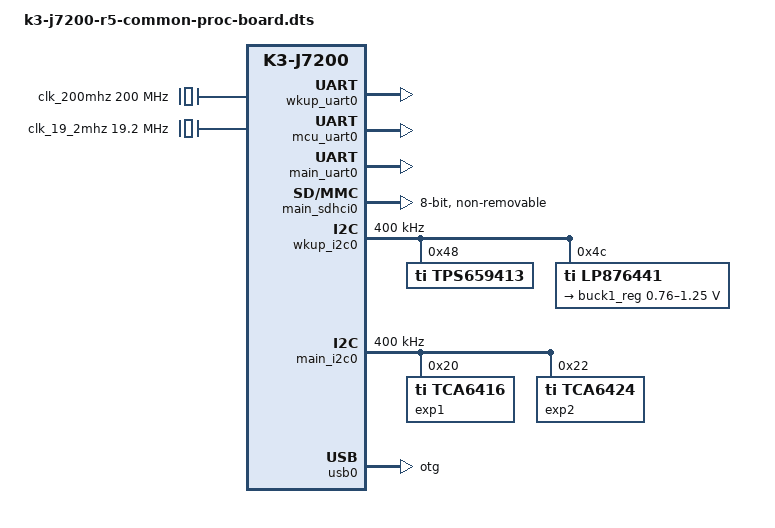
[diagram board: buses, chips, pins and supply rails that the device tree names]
// SPDX-License-Identifier: GPL-2.0
/*
 * Copyright (C) 2020 Texas Instruments Incorporated - https://www.ti.com/
 */

/dts-v1/;

#include "k3-j7200-som-p0.dtsi"
#include "k3-j7200-ddr-evm-lp4-2666.dtsi"
#include "k3-j721e-ddr.dtsi"

/ {
	aliases {
		remoteproc0 = &sysctrler;
		remoteproc1 = &a72_0;
	};

	chosen {
		stdout-path = &main_uart0;
		tick-timer = &timer1;
		firmware-loader = &fs_loader0;
	};

	fs_loader0: fs_loader@0 {
		bootph-all;
		compatible = "u-boot,fs-loader";
	};

	a72_0: a72@0 {
		compatible = "ti,am654-rproc";
		reg = <0x0 0x00a90000 0x0 0x10>;
		power-domains = <&k3_pds 61 TI_SCI_PD_EXCLUSIVE>,
				<&k3_pds 202 TI_SCI_PD_EXCLUSIVE>,
				<&k3_pds 4 TI_SCI_PD_EXCLUSIVE>;
		resets = <&k3_reset 202 0>;
		clocks = <&k3_clks 61 1>, <&k3_clks 4 1>, <&k3_clks 202 2>;
		clock-names = "gtc_clk", "msmc_clk", "arm_clk";
		assigned-clocks = <&k3_clks 202 2>, <&k3_clks 61 1>, <&k3_clks 4 1>, <&k3_clks 323 0>;
		assigned-clock-parents= <0>, <0>, <0>, <&k3_clks 323 2>;
		assigned-clock-rates = <2000000000>, <200000000>, <1000000000>;
		ti,sci = <&dmsc>;
		ti,sci-proc-id = <32>;
		ti,sci-host-id = <10>;
		bootph-pre-ram;
	};

	clk_200mhz: dummy_clock_200mhz {
		compatible = "fixed-clock";
		#clock-cells = <0>;
		clock-frequency = <200000000>;
		bootph-pre-ram;
	};

	clk_19_2mhz: dummy_clock_19_2mhz {
		compatible = "fixed-clock";
		#clock-cells = <0>;
		clock-frequency = <19200000>;
		bootph-pre-ram;
	};
};

&memorycontroller {
	power-domains = <&k3_pds 8 TI_SCI_PD_SHARED>,
			<&k3_pds 90 TI_SCI_PD_SHARED>;
	clocks = <&k3_clks 8 5>, <&k3_clks 30 9>;
};

&cbass_mcu_wakeup {
	mcu_secproxy: secproxy@2a380000 {
		bootph-pre-ram;
		compatible = "ti,am654-secure-proxy";
		reg = <0x0 0x2a380000 0x0 0x80000>,
		      <0x0 0x2a400000 0x0 0x80000>,
		      <0x0 0x2a480000 0x0 0x80000>;
		reg-names = "rt", "scfg", "target_data";
		#mbox-cells = <1>;
	};

	sysctrler: sysctrler {
		bootph-pre-ram;
		compatible = "ti,am654-system-controller";
		mboxes= <&mcu_secproxy 4>, <&mcu_secproxy 5>;
		mbox-names = "tx", "rx";
	};

	dm_tifs: dm-tifs {
		compatible = "ti,j721e-dm-sci";
		ti,host-id = <3>;
		ti,secure-host;
		mbox-names = "rx", "tx";
		mboxes= <&mcu_secproxy 21>,
			<&mcu_secproxy 23>;
		bootph-pre-ram;
	};

	wkup_vtm0: vtm@42040000 {
		compatible = "ti,am654-vtm", "ti,j721e-avs";
		reg = <0x0 0x42040000 0x0 0x330>,
		      <0x00 0x42050000 0x00 0x350>;
		power-domains = <&k3_pds 154 TI_SCI_PD_EXCLUSIVE>;
		#thermal-sensor-cells = <1>;
	};
};

&dmsc {
	mboxes= <&mcu_secproxy 8>, <&mcu_secproxy 6>, <&mcu_secproxy 5>;
	mbox-names = "tx", "rx", "notify";
	ti,host-id = <4>;
	ti,secure-host;
};

&wkup_pmx0 {
	bootph-pre-ram;
	wkup_uart0_pins_default: wkup_uart0_pins_default {
		bootph-pre-ram;
		pinctrl-single,pins = <
			J721E_WKUP_IOPAD(0xb0, PIN_INPUT, 0) /* (B14) WKUP_UART0_RXD */
			J721E_WKUP_IOPAD(0xb4, PIN_OUTPUT, 0) /* (A14) WKUP_UART0_TXD */
		>;
	};

	mcu_uart0_pins_default: mcu_uart0_pins_default {
		bootph-pre-ram;
		pinctrl-single,pins = <
			J721E_WKUP_IOPAD(0xf4, PIN_INPUT, 0) /* (D20) WKUP_GPIO0_13.MCU_UART0_RXD */
			J721E_WKUP_IOPAD(0xf0, PIN_OUTPUT, 0) /* (D19) WKUP_GPIO0_12.MCU_UART0_TXD */
			J721E_WKUP_IOPAD(0xf8, PIN_INPUT, 0) /* (E20) WKUP_GPIO0_14.MCU_UART0_CTSn */
			J721E_WKUP_IOPAD(0xfc, PIN_OUTPUT, 0) /* (E21) WKUP_GPIO0_15.MCU_UART0_RTSn */
		>;
	};

	wkup_i2c0_pins_default: wkup-i2c0-pins-default {
		pinctrl-single,pins = <
			J721E_WKUP_IOPAD(0x100, PIN_INPUT_PULLUP, 0) /* (F20) WKUP_I2C0_SCL */
			J721E_WKUP_IOPAD(0x104, PIN_INPUT_PULLUP, 0) /* (H21) WKUP_I2C0_SDA */
		>;
	};

	wkup_gpio_pins_default: wkup-gpio-pins-default {
		pinctrl-single,pins = <
			J721E_WKUP_IOPAD(0xd8, PIN_INPUT, 7) /* (C14) WKUP_GPIO0_6 */
		>;
	};
};

&main_pmx0 {
	bootph-pre-ram;

	main_uart0_pins_default: main_uart0_pins_default {
		bootph-pre-ram;
		pinctrl-single,pins = <
			J721E_IOPAD(0xb0, PIN_INPUT, 0) /* (T16) UART0_RXD */
			J721E_IOPAD(0xb4, PIN_OUTPUT, 0) /* (T17) UART0_TXD */
			J721E_IOPAD(0xc0, PIN_INPUT, 2) /* (W3) SPI0_CS0.UART0_CTSn */
			J721E_IOPAD(0xc4, PIN_OUTPUT, 2) /* (U5) SPI0_CS1.UART0_RTSn */
		>;
	};

	main_i2c0_pins_default: main-i2c0-pins-default {
		bootph-pre-ram;
		pinctrl-single,pins = <
			J721E_IOPAD(0xd4, PIN_INPUT_PULLUP, 0) /* (V3) I2C0_SCL */
			J721E_IOPAD(0xd8, PIN_INPUT_PULLUP, 0) /* (W2) I2C0_SDA */
		>;
	};

	main_mmc1_pins_default: main_mmc1_pins_default {
		pinctrl-single,pins = <
			J721E_IOPAD(0x104, PIN_INPUT, 0) /* (M20) MMC1_CMD */
			J721E_IOPAD(0x100, PIN_INPUT, 0) /* (P21) MMC1_CLK */
			J721E_IOPAD(0xfc, PIN_INPUT, 0) /* (P25) MMC1_CLKLB */
			J721E_IOPAD(0xf8, PIN_INPUT, 0) /* (M19) MMC1_DAT0 */
			J721E_IOPAD(0xf4, PIN_INPUT, 0) /* (N21) MMC1_DAT1 */
			J721E_IOPAD(0xf0, PIN_INPUT, 0) /* (N20) MMC1_DAT2 */
			J721E_IOPAD(0xec, PIN_INPUT, 0) /* (N19) MMC1_DAT3 */
			J721E_IOPAD(0xe4, PIN_INPUT, 8) /* (V1) TIMER_IO0.MMC1_SDCD */
		>;
	};

	main_usbss0_pins_default: main_usbss0_pins_default {
		pinctrl-single,pins = <
			J721E_IOPAD(0x120, PIN_OUTPUT, 0) /* (T4) USB0_DRVVBUS */
		>;
	};
};

&wkup_uart0 {
	bootph-pre-ram;
	pinctrl-names = "default";
	pinctrl-0 = <&wkup_uart0_pins_default>;
	status = "okay";
};

&mcu_uart0 {
	/delete-property/ power-domains;
	/delete-property/ clocks;
	/delete-property/ clock-names;
	pinctrl-names = "default";
	pinctrl-0 = <&mcu_uart0_pins_default>;
	status = "okay";
	clock-frequency = <96000000>;
};

&main_uart0 {
	status = "okay";
	power-domains = <&k3_pds 146 TI_SCI_PD_SHARED>;
	pinctrl-names = "default";
	pinctrl-0 = <&main_uart0_pins_default>;
	status = "okay";
};

&main_sdhci0 {
	/delete-property/ power-domains;
	/delete-property/ assigned-clocks;
	/delete-property/ assigned-clock-parents;
	pinctrl-0 = <&main_mmc1_pins_default>;
	pinctrl-names = "default";
	clock-names = "clk_xin";
	clocks = <&clk_200mhz>;
	ti,driver-strength-ohm = <50>;
	non-removable;
	bus-width = <8>;
};

&main_sdhci1 {
	/delete-property/ power-domains;
	/delete-property/ assigned-clocks;
	/delete-property/ assigned-clock-parents;
	clock-names = "clk_xin";
	clocks = <&clk_200mhz>;
	ti,driver-strength-ohm = <50>;
};

&wkup_i2c0 {
	bootph-pre-ram;
	pinctrl-names = "default";
	pinctrl-0 = <&wkup_i2c0_pins_default>;
	clock-frequency = <400000>;

	tps659413: tps659413@48 {
		compatible = "ti,tps659413";
		reg = <0x48>;
		bootph-pre-ram;

		regulators_a: regulators {
			bootph-pre-ram;
		};
	};

	lp876441: lp876441@4c {
		compatible = "ti,lp876441";
		reg = <0x4c>;
		bootph-pre-ram;

		regulators: regulators {
			bootph-pre-ram;
			buck1_reg: buck1 {
				/*VDD_CPU_AVS_REG*/
				regulator-name = "buck1";
				regulator-min-microvolt = <760000>;
				regulator-max-microvolt = <1250000>;
				regulator-always-on;
				regulator-boot-on;
				bootph-pre-ram;
			};
		};
	};

};

&wkup_vtm0 {
	vdd-supply-2 = <&buck1_reg>;
	bootph-pre-ram;
};

&main_i2c0 {
	pinctrl-names = "default";
	pinctrl-0 = <&main_i2c0_pins_default>;
	clock-frequency = <400000>;

	exp1: gpio@20 {
		compatible = "ti,tca6416";
		reg = <0x20>;
		gpio-controller;
		#gpio-cells = <2>;
	};

	exp2: gpio@22 {
		compatible = "ti,tca6424";
		reg = <0x22>;
		gpio-controller;
		#gpio-cells = <2>;
	};
};

&usbss0 {
	pinctrl-names = "default";
	pinctrl-0 = <&main_usbss0_pins_default>;
	ti,vbus-divider;
	ti,usb2-only;
};

&usb0 {
	dr_mode = "otg";
	maximum-speed = "high-speed";
};

&wkup_gpio0 {
	pinctrl-names = "default";
	pinctrl-0 = <&wkup_gpio_pins_default>;
};

&hbmc {
	reg = <0x0 0x47040000 0x0 0x100>,
	      <0x0 0x50000000 0x0 0x8000000>;
	ranges = <0x0 0x0 0x0 0x50000000 0x4000000>, /* 64MB Flash on CS0 */
		 <0x1 0x0 0x0 0x54000000 0x800000>; /* 8MB flash on CS1 */
};

&ospi0 {
	reg = <0x0 0x47040000 0x0 0x100>,
	      <0x0 0x50000000 0x0 0x8000000>;
};

&mcu_ringacc {
	ti,sci = <&dm_tifs>;
};

&mcu_udmap {
	ti,sci = <&dm_tifs>;
};
#include "k3-j7200-common-proc-board-u-boot.dtsi"
